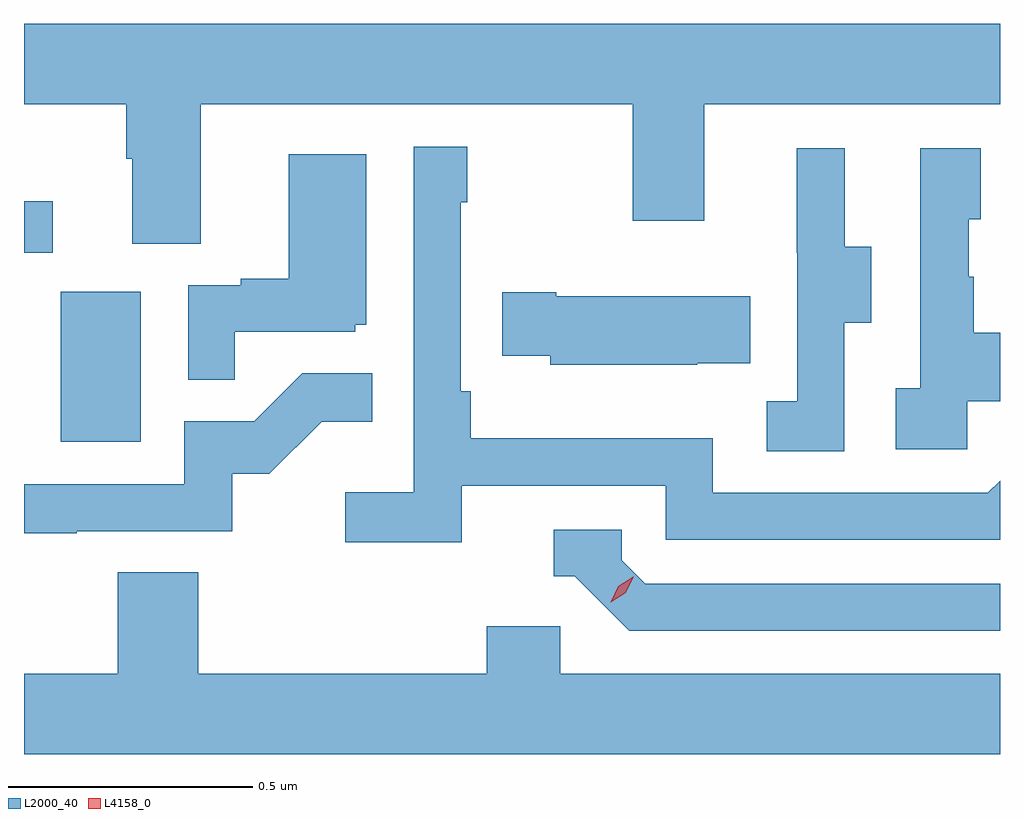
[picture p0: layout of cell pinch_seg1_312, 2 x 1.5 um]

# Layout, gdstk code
import gdstk
lib = gdstk.Library(unit=1e-6, precision=1e-09)
def R(c, l, rs):  # rectangles x0, y0, x1, y1
    for r in rs: c.add(gdstk.rectangle(r[:2], r[2:], *l))
def P(c, l, *ps):  # polygons
    for p in ps: c.add(gdstk.Polygon(p, *l))
L2000_40 = (2000, 40)
L4158_0 = (4158, 0)

pinch_seg1_312 = lib.new_cell('pinch_seg1_312')
R(pinch_seg1_312, L2000_40, [(920.786,544.38,920.95,544.687), (920.711,544.767,920.77,544.873)])
P(pinch_seg1_312, L2000_40, [(921.073,545.072),(921.958,545.072),(921.958,544.833),(922.105,544.833),(922.105,545.072),(922.711,545.072),(922.711,545.236),(920.711,545.236),(920.711,545.072),(920.921,545.072),(920.921,544.96),(920.933,544.96),(920.933,544.786),(921.073,544.786)],
  [(921.608,544.29),(922.026,544.29),(922.026,544.179),(922.711,544.179),(922.711,544.3),(922.686,544.275),(922.122,544.275),(922.122,544.387),(921.626,544.387),(921.626,544.483),(921.606,544.483),(921.606,544.871),(921.619,544.871),(921.619,544.984),(921.51,544.984),(921.51,544.276),(921.369,544.276),(921.369,544.174),(921.608,544.174)],
  [(922.644,544.463),(922.711,544.463),(922.711,544.603),(922.657,544.603),(922.657,544.718),(922.647,544.718),(922.647,544.836),(922.672,544.836),(922.672,544.981),(922.548,544.981),(922.548,544.49),(922.497,544.49),(922.497,544.365),(922.644,544.365)],
  [(922.392,544.624),(922.447,544.624),(922.447,544.779),(922.393,544.779),(922.393,544.981),(922.295,544.981),(922.295,544.767),(922.296,544.767),(922.296,544.463),(922.233,544.463),(922.233,544.36),(922.392,544.36)],
  [(921.143,544.605),(921.39,544.605),(921.39,544.62),(921.412,544.62),(921.412,544.969),(921.254,544.969),(921.254,544.714),(921.155,544.714),(921.155,544.701),(921.048,544.701),(921.048,544.507),(921.143,544.507)],
  [(922.091,544.541),(922.199,544.541),(922.199,544.678),(921.802,544.678),(921.802,544.686),(921.691,544.686),(921.691,544.556),(921.789,544.556),(921.789,544.538),(922.091,544.538)],
  [(920.819,544.197),(921.138,544.197),(921.138,544.314),(921.214,544.314),(921.321,544.421),(921.425,544.421),(921.425,544.52),(921.281,544.52),(921.183,544.422),(921.039,544.422),(921.039,544.293),(920.711,544.293),(920.711,544.192),(920.819,544.192)],
  [(922.711,544.089),(921.984,544.089),(921.936,544.137),(921.936,544.2),(921.797,544.2),(921.797,544.104),(921.84,544.104),(921.951,543.993),(922.711,543.993)],
  [(922.711,543.904),(921.81,543.904),(921.81,544.002),(921.659,544.002),(921.659,543.904),(921.068,543.904),(921.068,544.112),(920.903,544.112),(920.903,543.904),(920.711,543.904),(920.711,543.74),(922.711,543.74)])
P(pinch_seg1_312, L4158_0, [(921.913,544.051),(921.913,544.051),(921.929,544.084),(921.959,544.103),(921.96,544.103),(921.96,544.103),(921.944,544.07),(921.913,544.051)])

lib.write_gds('pinch_seg1_312.gds')
